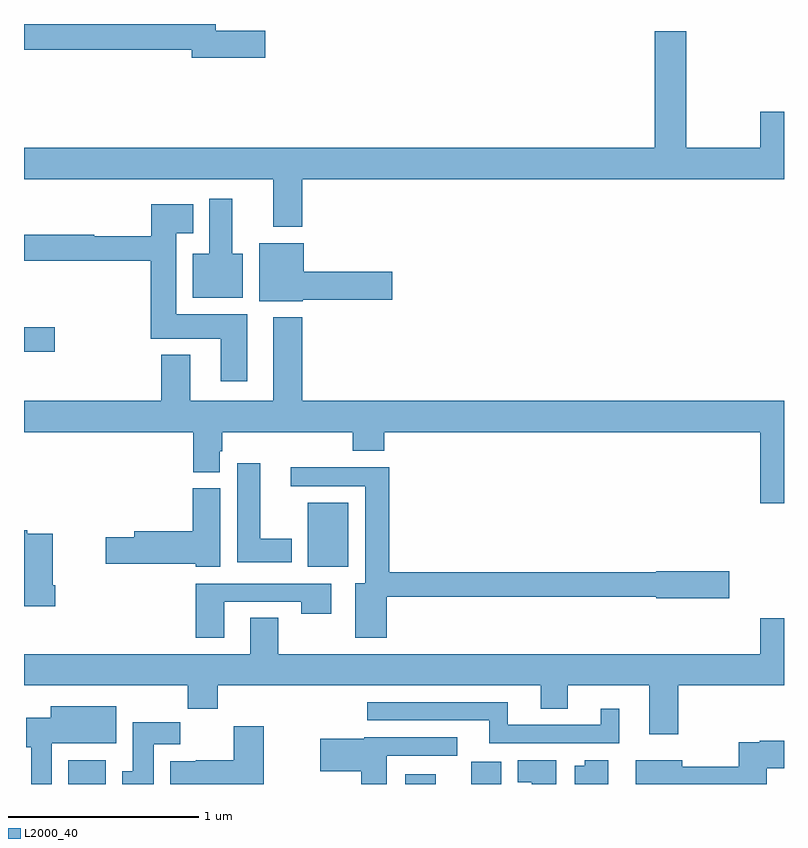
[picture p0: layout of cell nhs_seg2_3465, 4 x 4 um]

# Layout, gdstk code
import gdstk
lib = gdstk.Library(unit=1e-6, precision=1e-09)
def R(c, l, rs):  # rectangles x0, y0, x1, y1
    for r in rs: c.add(gdstk.rectangle(r[:2], r[2:], *l))
def P(c, l, *ps):  # polygons
    for p in ps: c.add(gdstk.Polygon(p, *l))
L2000_40 = (2000, 40)

nhs_seg2_3465 = lib.new_cell('nhs_seg2_3465')
R(nhs_seg2_3465, L2000_40, [(293.234,629.8,293.431,629.926), (295.007,629.8,295.168,629.851), (295.355,629.8,295.513,629.916), (294.494,630.944,294.706,631.279), (293,632.075,293.161,632.205)])
P(nhs_seg2_3465, L2000_40, [(294.271,633.764),(294.01,633.764),(294.01,633.8),(293,633.8),(293,633.664),(293.882,633.664),(293.882,633.622),(294.271,633.622)],
  [(294.464,632.984),(297,632.984),(297,633.337),(296.876,633.337),(296.876,633.148),(296.485,633.148),(296.485,633.763),(296.321,633.763),(296.321,633.148),(293,633.148),(293,632.984),(294.311,632.984),(294.311,632.732),(294.464,632.732)],
  [(294.151,632.59),(294.097,632.59),(294.097,632.881),(293.975,632.881),(293.975,632.59),(293.888,632.59),(293.888,632.36),(294.151,632.36)],
  [(294.175,632.272),(293.8,632.272),(293.8,632.699),(293.89,632.699),(293.89,632.851),(293.671,632.851),(293.671,632.683),(293.37,632.683),(293.37,632.691),(293,632.691),(293,632.554),(293.666,632.554),(293.666,632.144),(294.035,632.144),(294.035,631.92),(294.175,631.92)],
  [(294.468,632.348),(294.937,632.348),(294.937,632.495),(294.472,632.495),(294.472,632.647),(294.239,632.647),(294.239,632.342),(294.468,632.342)],
  [(297,631.816),(294.464,631.816),(294.464,632.257),(294.311,632.257),(294.311,631.816),(293.875,631.816),(293.875,632.059),(293.723,632.059),(293.723,631.816),(293,631.816),(293,631.652),(293.891,631.652),(293.891,631.441),(294.031,631.441),(294.031,631.551),(294.044,631.551),(294.044,631.652),(294.731,631.652),(294.731,631.553),(294.896,631.553),(294.896,631.652),(296.876,631.652),(296.876,631.278),(297,631.278)],
  [(294.409,631.09),(294.244,631.09),(294.244,631.489),(294.122,631.489),(294.122,630.968),(294.409,630.968)],
  [(294.91,630.786),(296.328,630.786),(296.328,630.778),(296.713,630.778),(296.713,630.92),(296.328,630.92),(296.328,630.914),(294.923,630.914),(294.923,631.466),(294.405,631.466),(294.405,631.368),(294.797,631.368),(294.797,630.856),(294.743,630.856),(294.743,630.57),(294.91,630.57)],
  [(294.034,631.356),(293.888,631.356),(293.888,631.13),(293.579,631.13),(293.579,631.1),(293.43,631.1),(293.43,630.958),(293.904,630.958),(293.904,630.944),(294.034,630.944)],
  [(293.165,630.847),(293.152,630.847),(293.152,631.116),(293.018,631.116),(293.018,631.136),(293,631.136),(293,630.735),(293.165,630.735)],
  [(294.055,630.759),(294.46,630.759),(294.46,630.696),(294.616,630.696),(294.616,630.855),(293.903,630.855),(293.903,630.57),(294.055,630.57)],
  [(296.444,630.32),(297,630.32),(297,630.673),(296.876,630.673),(296.876,630.484),(294.339,630.484),(294.339,630.674),(294.191,630.674),(294.191,630.484),(293,630.484),(293,630.32),(293.863,630.32),(293.863,630.196),(294.02,630.196),(294.02,630.32),(295.721,630.32),(295.721,630.196),(295.861,630.196),(295.861,630.32),(296.291,630.32),(296.291,630.063),(296.444,630.063)],
  [(296.134,630.196),(296.036,630.196),(296.036,630.111),(295.546,630.111),(295.546,630.231),(294.807,630.231),(294.807,630.135),(295.448,630.135),(295.448,630.015),(296.134,630.015)],
  [(293.146,630.014),(293.485,630.014),(293.485,630.208),(293.141,630.208),(293.141,630.148),(293.012,630.148),(293.012,629.994),(293.039,629.994),(293.039,629.8),(293.146,629.8)],
  [(293.683,630.008),(293.822,630.008),(293.822,630.126),(293.573,630.126),(293.573,629.868),(293.516,629.868),(293.516,629.8),(293.683,629.8)],
  [(294.262,630.103),(294.104,630.103),(294.104,629.926),(293.904,629.926),(293.904,629.92),(293.771,629.92),(293.771,629.8),(294.262,629.8)],
  [(294.91,629.949),(295.281,629.949),(295.281,630.045),(294.792,630.045),(294.792,630.037),(294.558,630.037),(294.558,629.867),(294.776,629.867),(294.776,629.8),(294.91,629.8)],
  [(296.909,629.882),(297,629.882),(297,630.027),(296.872,630.027),(296.872,630.019),(296.761,630.019),(296.761,629.89),(296.464,629.89),(296.464,629.926),(296.219,629.926),(296.219,629.8),(296.909,629.8)],
  [(295.801,629.926),(295.599,629.926),(295.599,629.81),(295.673,629.81),(295.673,629.8),(295.801,629.8)],
  [(296.074,629.926),(295.952,629.926),(295.952,629.896),(295.898,629.896),(295.898,629.8),(296.074,629.8)])

lib.write_gds('nhs_seg2_3465.gds')
